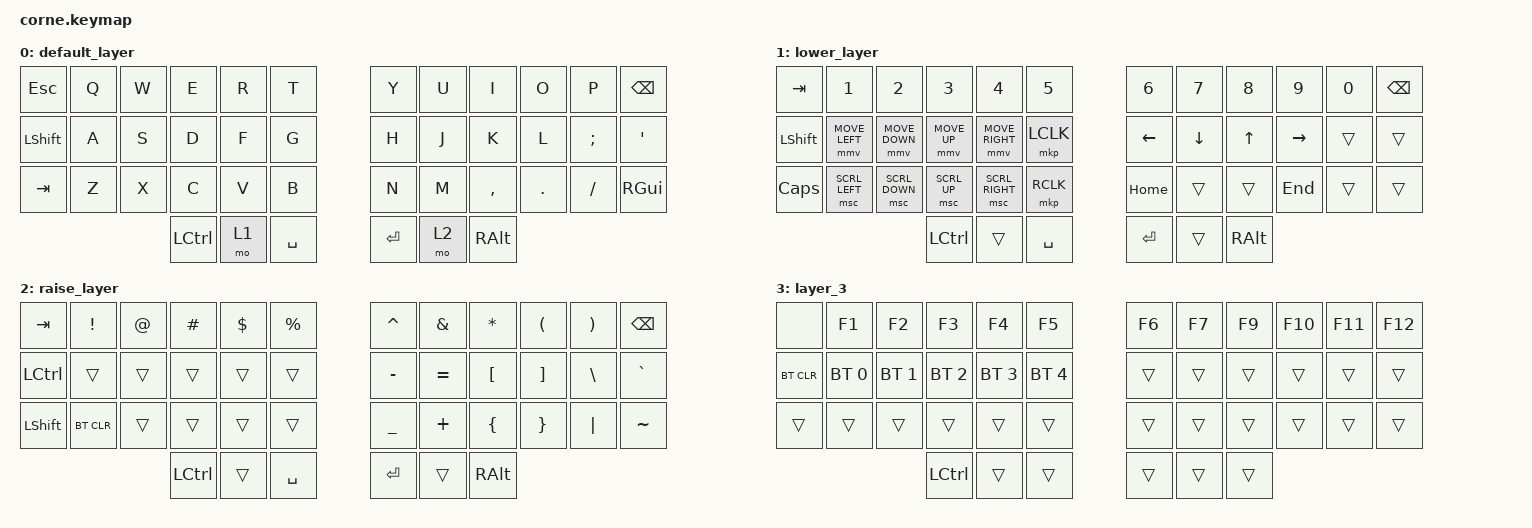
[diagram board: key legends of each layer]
/*
 * Copyright (c) 2020 The ZMK Contributors
 *
 * SPDX-License-Identifier: MIT
 */

#include <behaviors.dtsi>
#include <dt-bindings/zmk/bt.h>
#include <dt-bindings/zmk/keys.h>
#include <dt-bindings/zmk/pointing.h>

/ {
    combos {
        compatible = "zmk,combos";

        switch_layer_3 {
            bindings = <&mo 3>;
            key-positions = <37 40>;
            layers = <3>;
        };
    };

    keymap {
        compatible = "zmk,keymap";

        default_layer {
            // -----------------------------------------------------------------------------------------
            // |  TAB |  Q  |  W  |  E  |  R  |  T  |   |  Y  |  U   |  I  |  O  |  P  | BKSP |
            // | CTRL |  A  |  S  |  D  |  F  |  G  |   |  H  |  J   |  K  |  L  |  ;  |  '   |
            // | SHFT |  Z  |  X  |  C  |  V  |  B  |   |  N  |  M   |  ,  |  .  |  /  | ESC  |
            //                    | GUI | LWR | SPC |   | ENT | RSE  | ALT |

            bindings = <
&kp ESC         &kp Q  &kp W  &kp E             &kp R  &kp T        &kp Y    &kp U  &kp I      &kp O    &kp P     &kp BSPC
&kp LEFT_SHIFT  &kp A  &kp S  &kp D             &kp F  &kp G        &kp H    &kp J  &kp K      &kp L    &kp SEMI  &kp SQT
&kp TAB         &kp Z  &kp X  &kp C             &kp V  &kp B        &kp N    &kp M  &kp COMMA  &kp DOT  &kp FSLH  &kp RIGHT_GUI
                              &kp LEFT_CONTROL  &mo 1  &kp SPACE    &kp RET  &mo 2  &kp RALT
            >;
        };

        lower_layer {
            // -----------------------------------------------------------------------------------------
            // |  TAB |  1  |  2  |  3  |  4  |  5  |   |  6  |  7  |  8  |  9  |  0  | BKSP |
            // | BTCLR| BT1 | BT2 | BT3 | BT4 | BT5 |   | LFT | DWN |  UP | RGT |     |      |
            // | SHFT |     |     |     |     |     |   |     |     |     |     |     |      |
            //                    | GUI |     | SPC |   | ENT |     | ALT |

            bindings = <
&kp TAB         &kp N1          &kp N2          &kp N3            &kp N4           &kp N5       &kp N6    &kp N7    &kp N8    &kp N9     &kp N0  &kp BSPC
&kp LEFT_SHIFT  &mmv MOVE_LEFT  &mmv MOVE_DOWN  &mmv MOVE_UP      &mmv MOVE_RIGHT  &mkp LCLK    &kp LEFT  &kp DOWN  &kp UP    &kp RIGHT  &trans  &trans
&kp CAPS        &msc SCRL_LEFT  &msc SCRL_DOWN  &msc SCRL_UP      &msc SCRL_RIGHT  &mkp RCLK    &kp HOME  &trans    &trans    &kp END    &trans  &trans
                                                &kp LEFT_CONTROL  &trans           &kp SPACE    &kp RET   &trans    &kp RALT
            >;
        };

        raise_layer {
            // -----------------------------------------------------------------------------------------
            // |  TAB |  !  |  @  |  #  |  $  |  %  |   |  ^  |  &  |  *  |  (  |  )  | BKSP |
            // | CTRL |     |     |     |     |     |   |  -  |  =  |  [  |  ]  |  \  |  `   |
            // | SHFT |     |     |     |     |     |   |  _  |  +  |  {  |  }  | "|" |  ~   |
            //                    | GUI |     | SPC |   | ENT |     | ALT |

            bindings = <
&kp TAB    &kp EXCL    &kp AT  &kp HASH          &kp DLLR  &kp PRCNT    &kp CARET  &kp AMPS   &kp ASTRK  &kp LPAR  &kp RPAR  &kp BSPC
&kp LCTRL  &trans      &trans  &trans            &trans    &trans       &kp MINUS  &kp EQUAL  &kp LBKT   &kp RBKT  &kp BSLH  &kp GRAVE
&kp LSHFT  &bt BT_CLR  &trans  &trans            &trans    &trans       &kp UNDER  &kp PLUS   &kp LBRC   &kp RBRC  &kp PIPE  &kp TILDE
                               &kp LEFT_CONTROL  &trans    &kp SPACE    &kp RET    &trans     &kp RALT
            >;
        };

        layer_3 {
            bindings = <
&none       &kp F1        &kp F2        &kp F3            &kp F4        &kp F5          &kp F6  &kp F7  &kp F9  &kp F10  &kp F11  &kp F12
&bt BT_CLR  &bt BT_SEL 0  &bt BT_SEL 1  &bt BT_SEL 2      &bt BT_SEL 3  &bt BT_SEL 4    &trans  &trans  &trans  &trans   &trans   &trans
&trans      &trans        &trans        &trans            &trans        &trans          &trans  &trans  &trans  &trans   &trans   &trans
                                        &kp LEFT_CONTROL  &trans        &trans          &trans  &trans  &trans
            >;
        };
    };

    conditional_layers {
        compatible = "zmk,conditional-layers";

        layer_3 {
            if-layers = <1 2>;
            then-layer = <3>;
        };
    };
};
